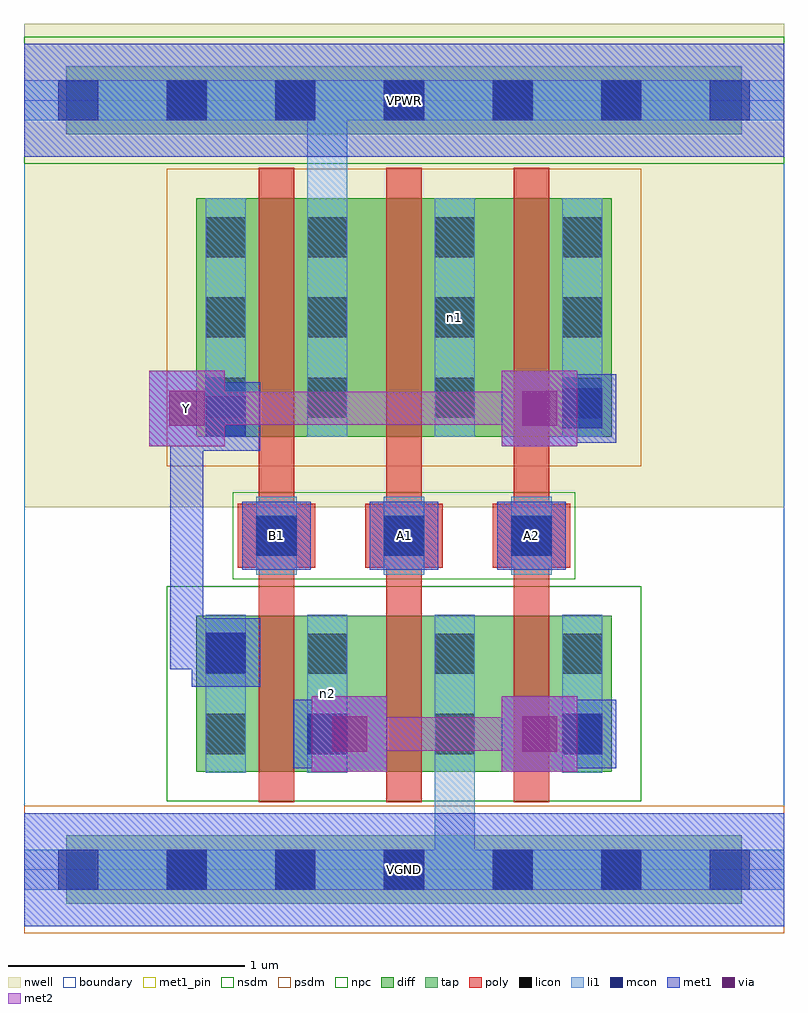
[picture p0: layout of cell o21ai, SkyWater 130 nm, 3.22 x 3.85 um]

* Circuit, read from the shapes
.subckt o21ai A1 A2 B1 VGND VPWR Y n1 n2
XM1 n2 B1 Y VGND sky130_fd_pr__nfet_01v8 w=0.66 l=0.15
XM2 VGND A1 n2 VGND sky130_fd_pr__nfet_01v8 w=0.66 l=0.15
XM3 n2 A2 VGND VGND sky130_fd_pr__nfet_01v8 w=0.66 l=0.15
XM4 VPWR B1 Y VPWR sky130_fd_pr__pfet_01v8 w=1.01 l=0.15
XM5 n1 A1 VPWR VPWR sky130_fd_pr__pfet_01v8 w=1.01 l=0.15
XM6 Y A2 n1 VPWR sky130_fd_pr__pfet_01v8 w=1.01 l=0.15
.ends

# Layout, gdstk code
import gdstk
lib = gdstk.Library(unit=1e-6, precision=1e-09)
def R(c, l, rs):  # rectangles x0, y0, x1, y1
    for r in rs: c.add(gdstk.rectangle(r[:2], r[2:], *l))
def A(c, l, x, y, w, h, nx, ny, dx, dy):  # array of equal rectangles
    R(c, l, [(x+i*dx, y+j*dy, x+i*dx+w, y+j*dy+h) for i in range(nx) for j in range(ny)])
nwell = (64, 20)
diff = (65, 20)
tap = (65, 44)
poly = (66, 20)
licon = (66, 44)
li1 = (67, 20)
mcon = (67, 44)
met1_pin = (68, 16)
met1 = (68, 20)
via = (68, 44)
met2 = (69, 20)
nsdm = (93, 44)
psdm = (94, 20)
npc = (95, 20)
boundary = (235, 4)

o21ai = lib.new_cell('o21ai')
R(o21ai, nwell, [(0,1.535,3.22,3.585)])
R(o21ai, diff, [(0.73,0.415,2.49,1.075), (0.73,1.835,2.49,2.845)])
R(o21ai, tap, [(0.18,-0.145,3.04,0.145), (0.18,3.115,3.04,3.405)])
A(o21ai, poly, 0.995, 0.285, 0.15, 2.69, 3, 1, 0.54, 0)
A(o21ai, poly, 0.905, 1.28, 0.33, 0.27, 3, 1, 0.54, 0)
A(o21ai, licon, 0.605, -0.085, 0.17, 0.17, 5, 2, 0.46, 3.26)
A(o21ai, licon, 1.2, 0.49, 0.17, 0.17, 3, 2, 0.54, 0.34)
A(o21ai, licon, 0.985, 1.33, 0.17, 0.17, 3, 1, 0.54, 0)
A(o21ai, licon, 0.77, 1.915, 0.17, 0.17, 1, 3, 0, 0.34)
A(o21ai, licon, 1.2, 1.915, 0.17, 0.17, 3, 3, 0.54, 0.34)
R(o21ai, licon, [(0.77,0.49,0.94,0.66), (0.77,0.83,0.94,1)])
A(o21ai, li1, 1.2, 0.41, 0.17, 0.67, 3, 1, 0.54, 0)
A(o21ai, li1, 0.985, 1.25, 0.17, 0.33, 3, 1, 0.54, 0)
A(o21ai, li1, 1.2, 1.835, 0.17, 1.01, 3, 1, 0.54, 0)
R(o21ai, li1, [(0,-0.085,3.22,0.085), (1.74,-0.085,1.91,1.08), (0.77,0.41,0.94,1.08), (0.77,1.835,0.94,2.845), (1.2,1.835,1.37,3.345), (0,3.175,3.22,3.345)])
A(o21ai, mcon, 0.145, -0.085, 0.17, 0.17, 7, 2, 0.46, 3.26)
A(o21ai, mcon, 0.985, 1.33, 0.17, 0.17, 3, 1, 0.54, 0)
R(o21ai, mcon, [(1.2,0.49,1.37,0.66), (2.28,0.49,2.45,0.66), (0.77,0.835,0.94,1.005), (0.77,1.835,0.94,2.005), (2.28,1.87,2.45,2.04)])
A(o21ai, met1_pin, 0.925, 1.27, 0.29, 0.29, 3, 1, 0.54, 0)
R(o21ai, met1_pin, [(0,-0.24,3.22,0.24), (0.53,1.795,0.85,2.115), (0,3.02,3.22,3.5)])
A(o21ai, met1, 0.925, 1.27, 0.29, 0.29, 3, 1, 0.54, 0)
R(o21ai, met1, [(0,-0.24,3.22,0.24), (1.22,0.415,1.54,0.735), (2.025,0.415,2.345,0.735), (1.14,0.43,1.43,0.72), (2.22,0.43,2.51,0.72), (1.215,0.505,1.45,0.645), (2.115,0.505,2.435,0.645), (0.71,0.775,1,1.065), (0.62,0.85,0.925,0.99), (0.62,0.85,0.76,1.795), (0.62,1.655,0.76,1.99), (0.62,1.655,0.76,2.025), (0.71,1.775,1,2.065), (0.53,1.795,0.85,2.115), (2.025,1.795,2.345,2.115), (2.22,1.81,2.51,2.1), (0.62,1.85,0.925,1.99), (2.115,1.885,2.435,2.025), (0,3.02,3.22,3.5)])
R(o21ai, via, [(1.305,0.5,1.455,0.65), (2.11,0.5,2.26,0.65), (0.615,1.88,0.765,2.03), (2.11,1.88,2.26,2.03)])
R(o21ai, met2, [(1.22,0.415,1.54,0.735), (2.025,0.415,2.345,0.735), (1.31,0.505,2.255,0.645), (0.53,1.795,0.85,2.115), (2.025,1.795,2.345,2.115), (0.62,1.885,2.255,2.025)])
R(o21ai, nsdm, [(0.605,0.29,2.615,1.2), (0,2.99,3.22,3.53)])
R(o21ai, psdm, [(0,-0.27,3.22,0.27), (0.605,1.71,2.615,2.97)])
R(o21ai, npc, [(0.885,1.23,2.335,1.6)])
R(o21ai, boundary, [(0,0,3.22,3.26)])
o21ai.add(gdstk.Label('n1', (1.825,2.34), layer=67, texttype=5))
o21ai.add(gdstk.Label('n2', (1.285,0.745), layer=67, texttype=5))
o21ai.add(gdstk.Label('A1', (1.61,1.415), layer=68, texttype=5))
o21ai.add(gdstk.Label('A2', (2.15,1.415), layer=68, texttype=5))
o21ai.add(gdstk.Label('B1', (1.07,1.415), layer=68, texttype=5))
o21ai.add(gdstk.Label('Y', (0.69,1.955), layer=68, texttype=5))
o21ai.add(gdstk.Label('VPWR', (1.61,3.26), layer=68, texttype=5))
o21ai.add(gdstk.Label('VGND', (1.61,0), layer=68, texttype=5))
o21ai.add(gdstk.Label('A1', (1.61,1.415), layer=68, texttype=16))
o21ai.add(gdstk.Label('A2', (2.15,1.415), layer=68, texttype=16))
o21ai.add(gdstk.Label('B1', (1.07,1.415), layer=68, texttype=16))
o21ai.add(gdstk.Label('Y', (0.69,1.955), layer=68, texttype=16))
o21ai.add(gdstk.Label('VPWR', (1.61,3.26), layer=68, texttype=16))
o21ai.add(gdstk.Label('VGND', (1.61,0), layer=68, texttype=16))

lib.write_gds('o21ai.gds')
